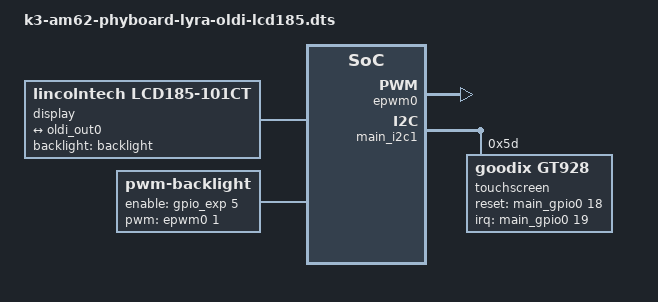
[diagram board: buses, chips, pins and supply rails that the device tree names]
// SPDX-License-Identifier: GPL-2.0
/*
 * Copyright (C) 2022 PHYTEC Messtechnik GmbH
 * Author: Wadim Egorov <w.egorov@phytec.de>
 */

/dts-v1/;
/plugin/;

#include <dt-bindings/pwm/pwm.h>
#include <dt-bindings/gpio/gpio.h>
#include <dt-bindings/interrupt-controller/irq.h>
#include <dt-bindings/pinctrl/k3.h>

&{/} {
	display {
		compatible = "lincolntech,lcd185-101ct";
		backlight = <&backlight>;

		port {
			lcd_in0: endpoint {
				remote-endpoint = <&oldi_out0>;
			};
		};
	};

	backlight: backlight {
		pinctrl-names = "default";
		pinctrl-0 = <&bl_pwm_pins_default>;

		compatible = "pwm-backlight";

		brightness-levels = <0 4 8 16 32 64 128 255>;
		default-brightness-level = <6>;

		enable-gpios = <&gpio_exp 5 GPIO_ACTIVE_HIGH>;
		pwms = <&epwm0 1 50000 0>;
	};
};

&main_pmx0 {
	bl_pwm_pins_default: bl-pwm-pins-default {
		pinctrl-single,pins = <
			AM62X_IOPAD(0x01b8, PIN_INPUT, 2) /* (C13) SPI0_CS1.EHRPWM0_B */
		>;
	};

	touch_screen_pins_default: touch-screen-pins-default {
		pinctrl-single,pins = <
			AM62X_IOPAD(0x048, PIN_OUTPUT, 7) /* (N25) GPMC0_AD3.GPIO0_18 - RST */
			AM62X_IOPAD(0x04c, PIN_INPUT, 7) /* (P24) GPMC0_AD4.GPIO0_19 - INT */
		>;
	};
};

&epwm0 {
	status = "okay";
};

/* HACK: Enabling both DSS ports is not working */
&hdmi {
	status = "disabled";
};

&hdmi_transmitter {
	status = "disabled";
};

&dss_ports {
	#address-cells = <1>;
	#size-cells = <0>;

	/* VP1: LVDS Output */
	port@0 {
		reg = <0>;

		oldi_out0: endpoint {
			remote-endpoint = <&lcd_in0>;
		};
	};
};

&main_i2c1 {
	#address-cells = <1>;
	#size-cells = <0>;

	touchscreen@5d {
		compatible = "goodix,gt928";
		reg = <0x5d>;

		pinctrl-names = "default";
		pinctrl-0 = <&touch_screen_pins_default>;

		interrupt-parent = <&main_gpio0>;
		interrupts = <19 IRQ_TYPE_LEVEL_LOW>;

		reset-gpios = <&main_gpio0 18 GPIO_ACTIVE_HIGH>;
		irq-gpios = <&main_gpio0 19 GPIO_ACTIVE_HIGH>;

		touchscreen-inverted-x;
		touchscreen-inverted-y;
	};
};
